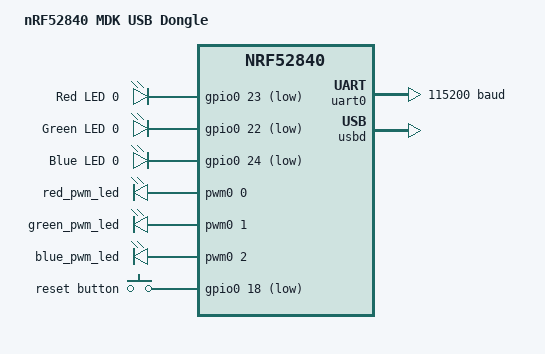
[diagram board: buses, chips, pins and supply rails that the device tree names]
/*
 * Copyright (c) 2022 Nikola Trifunovic
 * Copyright (c) 2018 Nordic Semiconductor ASA
 * Copyright (c) 2017 Linaro Limited
 *
 * SPDX-License-Identifier: Apache-2.0
 */

/dts-v1/;
#include <nordic/nrf52840_qiaa.dtsi>
#include "nrf52840_mdk_usb_dongle-pinctrl.dtsi"

/ {
	model = "nRF52840 MDK USB Dongle";
	compatible = "nrf52840_mdk_usb_dongle";

	chosen {
		zephyr,console = &uart0;
		zephyr,shell-uart = &uart0;
		zephyr,uart-mcumgr = &uart0;
		zephyr,bt-mon-uart = &uart0;
		zephyr,bt-c2h-uart = &uart0;
		zephyr,sram = &sram0;
		zephyr,flash = &flash0;
		zephyr,code-partition = &slot0_partition;
	};

	leds {
		compatible = "gpio-leds";
		led0_red: led_0 {
			gpios = <&gpio0 23 GPIO_ACTIVE_LOW>;
			label = "Red LED 0";
		};
		led0_green: led_1 {
			gpios = <&gpio0 22 GPIO_ACTIVE_LOW>;
			label = "Green LED 0";
		};
		led0_blue: led_2 {
			gpios = <&gpio0 24 GPIO_ACTIVE_LOW>;
			label = "Blue LED 0";
		};
	};

	pwmleds {
		compatible = "pwm-leds";
		red_pwm_led: pwm_led_0 {
			pwms = <&pwm0 0 PWM_MSEC(20) PWM_POLARITY_INVERTED>;
		};
		green_pwm_led: pwm_led_1 {
			pwms = <&pwm0 1 PWM_MSEC(20) PWM_POLARITY_INVERTED>;
		};
		blue_pwm_led: pwm_led_2 {
			pwms = <&pwm0 2 PWM_MSEC(20) PWM_POLARITY_INVERTED>;
		};
	};

	buttons {
		compatible = "gpio-keys";
		reset_button: button_0 {
			gpios = <&gpio0 18 (GPIO_PULL_UP | GPIO_ACTIVE_LOW)>;
			label = "reset button";
		};
	};

	/* These aliases are provided for compatibility with samples */
	aliases {
		led0 = &led0_red;
		led1 = &led0_green;
		led2 = &led0_blue;
		led0-red   = &led0_red;
		led0-green = &led0_green;
		led0-blue  = &led0_blue;
		pwm-led0 = &red_pwm_led;
		pwm-led1 = &green_pwm_led;
		pwm-led2 = &blue_pwm_led;
		red-pwm-led = &red_pwm_led;
		green-pwm-led = &green_pwm_led;
		blue-pwm-led = &blue_pwm_led;
		watchdog0 = &wdt0;
	};
};

&gpiote {
	status = "okay";
};

&gpio0 {
	status = "okay";
};

&gpio1 {
	status = "okay";
};

&uart0 {
	compatible = "nordic,nrf-uarte";
	status = "okay";
	current-speed = <115200>;
	pinctrl-0 = <&uart0_default>;
	pinctrl-1 = <&uart0_sleep>;
	pinctrl-names = "default", "sleep";
};

/* Include flash partition table.
 * Two partition tables are available:
 * fstab-stock		-compatible with Nordic nRF5 bootloader, default
 * fstab-debugger	-to use an external debugger, w/o the nRF5 bootloader
 */
#include "fstab-stock.dts"

zephyr_udc0: &usbd {
	compatible = "nordic,nrf-usbd";
	status = "okay";
};
